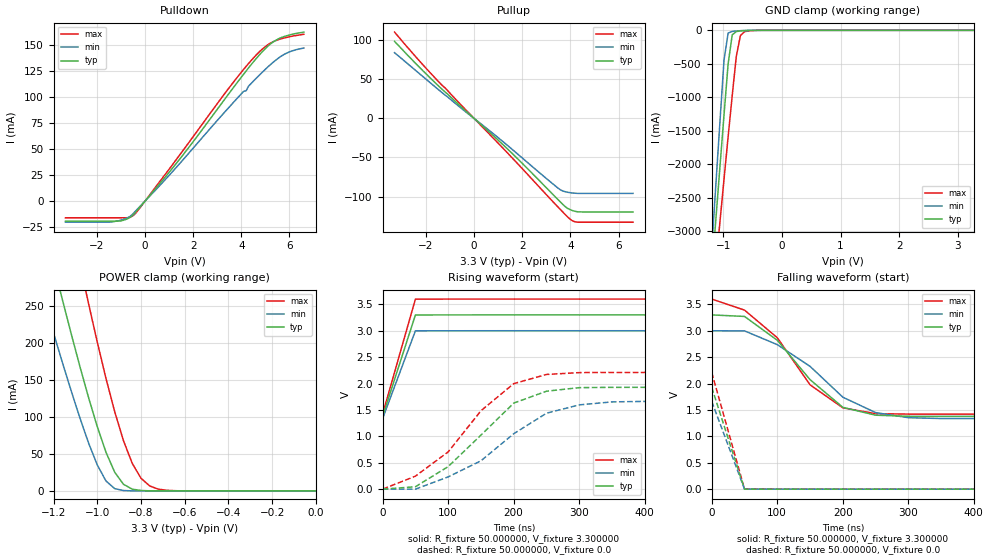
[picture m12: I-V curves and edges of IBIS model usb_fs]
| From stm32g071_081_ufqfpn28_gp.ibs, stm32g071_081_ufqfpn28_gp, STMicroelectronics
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|   Model usb_fs
[Model]  usb_fs
Model_type I/O
Polarity   Non-Inverting
Enable   Active-Low
Vinl =   0.990000V
Vinh =   2.310000V
Vmeas =  1.650000V
Cref =   40.000000pF
Rref =   100.000000M
Vref =   0.0V
C_comp   6.430500pF   6.217500pF   6.600000pF
[Temperature Range]   25.000000   -40.000000   0.125000k
[Pullup Reference]   3.300000V   3.000000V   3.600000V
[Pulldown Reference]   0.0V   0.0V   0.0V
[POWER Clamp Reference]   3.300000V   3.000000V   3.600000V
[GND Clamp Reference]   0.0V   0.0V   0.0V
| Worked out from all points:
|   slope of the pulldown table from 0 to 0.495 V, typ, clamps not added: 36.7 ohm
|   slope of the pullup table from 0 to 0.495 V, typ, clamps not added: 36.4 ohm
|   GND clamp passes 1 mA (typ) near -0.52 V on its own axis
|   POWER clamp passes 1 mA (typ) near -0.81 V on its own axis
|   rising waveform, R_fixture 50.000000, V_fixture 3.300000: 20-80 % time 30ns typ, 30ns min, 30ns max; typ from 1.38 V to 3.3 V
|   rising waveform, R_fixture 50.000000, V_fixture 0.0: 20-80 % time 98.4ns typ, 120ns min, 106ns max; typ from 0 V to 1.93 V
|   falling waveform, R_fixture 50.000000, V_fixture 3.300000: 20-80 % time 90.4ns typ, 104ns min, 92ns max; typ from 3.3 V to 1.38 V
|   falling waveform, R_fixture 50.000000, V_fixture 0.0: 20-80 % time 30ns typ, 30ns min, 30ns max; typ from 1.93 V to 0 V
[Pulldown]
|Voltage   I(typ)   I(min)   I(max)
-3.3V     -19.2mA    -20.1mA    -15.89mA
-1.4V     -19.2mA    -19.9mA    -15.89mA
-900mV    -18.27mA   -17.39mA   -15.89mA
-500mV    -13.42mA   -12.17mA   -13.96mA
1.5V      41.95mA    37.51mA    46.04mA
3.5V      103.4mA    90.12mA    108.7mA
4.2V      124.6mA    105.7mA    129.1mA
4.6V      136mA      117.2mA    139.5mA
5.1V      148.3mA    128.5mA    149.7mA
5.5V      154.9mA    136.3mA    154.3mA
6V        159.1mA    143mA      157.5mA
6.6V      161.9mA    146.7mA    159.8mA
[Pullup]
|Voltage   I(typ)   I(min)   I(max)
-3.3V     98.6mA     84.1mA     110.5mA
-1.9V     54.3mA     47.74mA    61.1mA
-1.3V     36.49mA    32.3mA     41.57mA
1.4V      -39.42mA   -34.88mA   -44.58mA
3.5V      -104.4mA   -89.58mA   -113.9mA
3.8V      -113.4mA   -93.98mA   -123.5mA
4V        -117mA     -95.15mA   -129.4mA
4.1V      -118.1mA   -95.6mA    -131.4mA
4.3V      -119.6mA   -96mA      -132.9mA
6.6V      -119.8mA   -96mA      -132.9mA
[GND_clamp]
|Voltage   I(typ)   I(min)   I(max)
-3.3V     -10A       -9.932A    -9.409A
-1.2V     -3.625A    -3.264A    -4.165A
-1.13V    -2.833A    -2.317A    -3.515A
-1.06V    -2.046A    -1.375A    -2.868A
-990mV    -1.266A    -445.1mA   -2.226A
-920mV    -503.5mA   -41.44mA   -1.593A
-850mV    -68.23mA   -15.9mA    -976.3mA
-780mV    -18.22mA   -9.77mA    -388mA
-710mV    -9.477mA   -5.248mA   -77.72mA
-640mV    -5.151mA   -2.055mA   -21.58mA
-360mV    -11.68uA   -97.01nA   -423.1uA
3.28V     0A         0A         0A
[POWER_clamp]
|Voltage   I(typ)   I(min)   I(max)
-3.28V    2.966A     2.441A     3.782A
-1.28V    401.9mA    294mA      598.3mA
-1.24V    353.8mA    253.5mA    538.6mA
-1.16V    259.3mA    174.3mA    421.4mA
-1.08V    169mA      99.32mA    308.1mA
-1.04V    126.5mA    65.09mA    253.7mA
-960mV    52.29mA    13.42mA    152.1mA
-920mV    25.24mA    3.092mA    107mA
-840mV    2.418mA    75.94uA    37.33mA
-760mV    129.2uA    1.641uA    6.707mA
-640mV    1.455uA    0A         261.4uA
0V        0A         0A         66.72nA
[Ramp]
| variable   typ   min   max
dV/dt_r  1.15728/94.80686n   0.99762/0.11307u   1.32660/97.08991n
dV/dt_f  1.15242/83.62969n   0.99786/98.00497n   1.30740/86.42898n
R_load = 50.000000
[Rising Waveform]
R_fixture= 50.000000
V_fixture= 3.300000
V_fixture_min= 3.000000
V_fixture_max= 3.600000
|time   V(typ)   V(min)   V(max)
0s        1.379V     1.337V     1.421V
50.05ns   3.299V     2.999V     3.599V
150.2ns   3.3V       3V         3.6V
4.955us   3.3V       3V         3.6V
[Rising Waveform]
R_fixture= 50.000000
V_fixture= 0.0
V_fixture_min= 0.0
V_fixture_max= 0.0
|time   V(typ)   V(min)   V(max)
0s        7.046nV    5.493nV    1.686uV
50.05ns   45.66mV    -51.97uV   246.1mV
100.1ns   428mV      232.6mV    706.1mV
150.2ns   1.024V     538.1mV    1.486V
200.2ns   1.63V      1.05V      1.999V
250.2ns   1.855V     1.439V     2.173V
300.3ns   1.923V     1.596V     2.207V
350.3ns   1.928V     1.653V     2.211V
400.4ns   1.929V     1.662V     2.211V
4.955us   1.929V     1.663V     2.211V
[Falling Waveform]
R_fixture= 50.000000
V_fixture= 3.300000
V_fixture_min= 3.000000
V_fixture_max= 3.600000
|time   V(typ)   V(min)   V(max)
0s        3.3V       3V         3.6V
50.05ns   3.271V     2.998V     3.391V
100.1ns   2.819V     2.737V     2.868V
150.2ns   2.073V     2.325V     1.975V
200.2ns   1.55V      1.741V     1.54V
250.2ns   1.401V     1.45V      1.429V
300.3ns   1.38V      1.353V     1.422V
350.3ns   1.379V     1.338V     1.421V
4.955us   1.379V     1.337V     1.421V
[Falling Waveform]
R_fixture= 50.000000
V_fixture= 0.0
V_fixture_min= 0.0
V_fixture_max= 0.0
|time   V(typ)   V(min)   V(max)
0s        1.929V     1.663V     2.211V
50.05ns   1.096mV    1.072mV    1.25mV
200.2ns   3.008uV    6.43uV     2.92uV
4.955us   7.046nV    5.493nV    1.686uV
